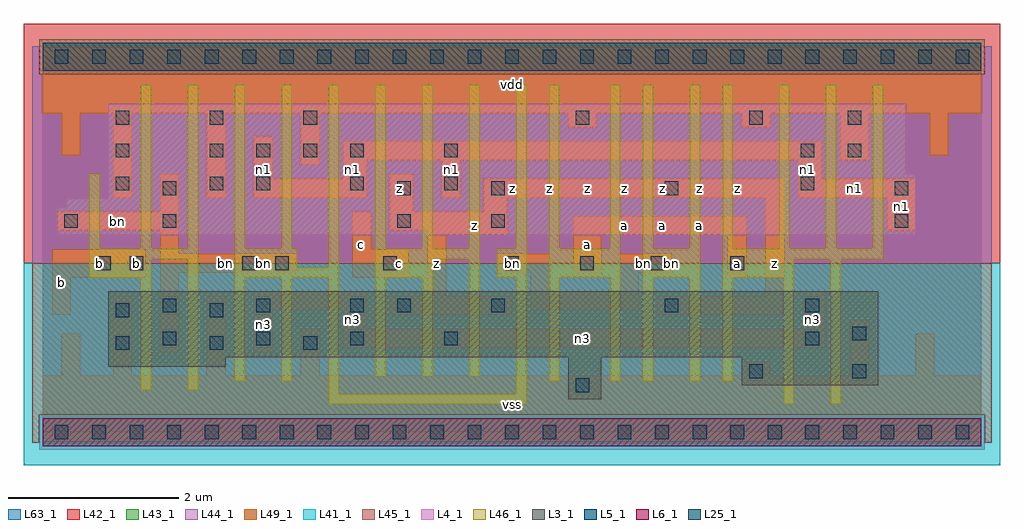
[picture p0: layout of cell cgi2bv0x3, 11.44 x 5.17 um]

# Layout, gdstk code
import gdstk
lib = gdstk.Library(unit=1e-6, precision=1e-09)
def R(c, l, rs):  # rectangles x0, y0, x1, y1
    for r in rs: c.add(gdstk.rectangle(r[:2], r[2:], *l))
def A(c, l, x, y, w, h, nx, ny, dx, dy):  # array of equal rectangles
    R(c, l, [(x+i*dx, y+j*dy, x+i*dx+w, y+j*dy+h) for i in range(nx) for j in range(ny)])
L3_1 = (3, 1)
L4_1 = (4, 1)
L5_1 = (5, 1)
L6_1 = (6, 1)
L25_1 = (25, 1)
L41_1 = (41, 1)
L42_1 = (42, 1)
L43_1 = (43, 1)
L44_1 = (44, 1)
L45_1 = (45, 1)
L46_1 = (46, 1)
L49_1 = (49, 1)
L63_1 = (63, 1)

cgi2bv0x3 = lib.new_cell('cgi2bv0x3')
R(cgi2bv0x3, L3_1, [(6.16,0.385,6.545,0.88), (8.195,0.55,9.79,0.88), (0.77,0.77,2.145,0.88), (0.77,0.88,9.79,1.65)])
R(cgi2bv0x3, L4_1, [(0.165,2.31,10.23,2.64), (0.275,2.64,10.23,2.75), (0.77,2.75,10.23,3.025), (0.77,3.025,10.12,3.85)])
R(cgi2bv0x3, L5_1, [(0,4.235,11,4.565)])
R(cgi2bv0x3, L6_1, [(0,-0.165,11,0.165)])
A(cgi2bv0x3, L25_1, 0.14, -0.08, 0.16, 0.16, 25, 2, 0.44, 4.4)
A(cgi2bv0x3, L25_1, 0.855, 0.965, 0.16, 0.16, 3, 2, 1.1, 2.64)
A(cgi2bv0x3, L25_1, 1.405, 1.02, 0.16, 0.16, 4, 1, 1.1, 0)
A(cgi2bv0x3, L25_1, 1.405, 1.405, 0.16, 0.16, 3, 1, 1.1, 0)
A(cgi2bv0x3, L25_1, 2.505, 2.835, 0.16, 0.16, 3, 1, 1.1, 0)
A(cgi2bv0x3, L25_1, 1.955, 3.22, 0.16, 0.16, 4, 1, 0.55, 0)
R(cgi2bv0x3, L25_1, [(6.245,0.47,6.405,0.63), (8.28,0.635,8.44,0.795), (9.49,0.635,9.65,0.795), (8.94,1.02,9.1,1.18), (9.49,1.075,9.65,1.235), (0.855,1.35,1.015,1.51), (1.955,1.35,2.115,1.51), (4.155,1.405,4.315,1.565), (5.255,1.405,5.415,1.565), (7.29,1.405,7.45,1.565), (8.94,1.405,9.1,1.565), (0.635,1.9,0.795,2.06), (1.02,1.9,1.18,2.06), (2.34,1.9,2.5,2.06), (2.725,1.9,2.885,2.06), (3.99,1.9,4.15,2.06), (5.42,1.9,5.58,2.06), (6.3,1.9,6.46,2.06), (7.125,1.9,7.285,2.06), (8.06,1.9,8.22,2.06), (0.25,2.395,0.41,2.555), (1.405,2.395,1.565,2.555), (4.155,2.395,4.315,2.555), (5.255,2.395,5.415,2.555), (9.985,2.395,10.145,2.555), (1.405,2.78,1.565,2.94), (4.155,2.78,4.315,2.94), (5.255,2.78,5.415,2.94), (7.29,2.78,7.45,2.94), (9.985,2.78,10.145,2.94), (0.855,2.835,1.015,2.995), (1.955,2.835,2.115,2.995), (8.885,2.835,9.045,2.995), (0.855,3.22,1.015,3.38), (4.705,3.22,4.865,3.38), (8.885,3.22,9.045,3.38), (9.435,3.22,9.595,3.38), (6.245,3.605,6.405,3.765), (8.28,3.605,8.44,3.765), (9.435,3.605,9.595,3.765)])
R(cgi2bv0x3, L41_1, [(-0.22,-0.385,11.22,1.98)])
R(cgi2bv0x3, L42_1, [(-0.22,1.98,11.22,4.785)])
R(cgi2bv0x3, L43_1, [(0,-0.165,11,0.165), (6.16,0.385,6.545,0.88), (8.195,0.55,9.79,0.88), (0.77,0.77,2.145,0.88), (0.77,0.88,9.79,1.65), (0.165,2.31,10.23,2.64), (0.275,2.64,10.23,2.75), (0.77,2.75,10.23,3.025), (0.77,3.025,10.12,3.85), (0,4.235,11,4.565)])
R(cgi2bv0x3, L44_1, [(-0.04,-0.205,11.04,0.205), (-0.125,1.98,11.125,4.195), (-0.125,4.195,-0.04,4.525), (11.04,4.195,11.125,4.525)])
R(cgi2bv0x3, L45_1, [(-0.125,-0.125,-0.04,0.205), (11.04,-0.125,11.125,0.205), (-0.125,0.205,11.125,1.98), (-0.04,4.195,11.04,4.605)])
A(cgi2bv0x3, L46_1, 1.15, 2.15, 0.12, 1.925, 4, 1, 0.55, 0)
A(cgi2bv0x3, L46_1, 3.9, 2.15, 0.12, 1.925, 4, 1, 0.55, 0)
A(cgi2bv0x3, L46_1, 8.63, 2.15, 0.12, 1.925, 3, 1, 0.55, 0)
R(cgi2bv0x3, L46_1, [(3.35,0.325,5.67,0.445), (8.685,0.325,8.805,1.81), (9.235,0.325,9.355,2.03), (3.35,0.445,3.47,1.81), (5.55,0.445,5.67,1.81), (1.15,0.49,1.27,1.81), (1.7,0.49,1.82,2.03), (2.25,0.6,2.37,1.81), (2.8,0.6,2.92,1.81), (5.935,0.6,6.055,1.81), (6.65,0.6,6.77,1.81), (7.035,0.6,7.155,1.81), (7.585,0.6,7.705,1.81), (7.97,0.6,8.09,1.81), (3.9,0.655,4.02,1.81), (4.45,0.655,4.57,1.81), (5,0.655,5.12,2.03), (0.545,1.81,1.27,2.03), (2.25,1.81,3.47,1.93), (3.9,1.81,4.57,2.03), (5.33,1.81,5.67,2.15), (5.935,1.81,6.77,2.15), (7.035,1.81,7.705,2.15), (7.97,1.81,8.805,2.03), (2.25,1.93,2.975,2.15), (3.35,1.93,3.47,4.075), (0.545,2.03,1.82,2.15), (3.9,2.03,5.12,2.15), (7.97,2.03,9.85,2.15), (0.545,2.15,0.665,3.03), (5.935,2.15,6.055,4.075), (6.65,2.15,6.77,4.075), (7.035,2.15,7.155,4.075), (7.585,2.15,7.705,4.075), (7.97,2.15,8.09,4.075)])
R(cgi2bv0x3, L49_1, [(0,-0.11,11,0.66), (0.22,0.66,0.44,1.155), (0.825,0.66,1.045,1.595), (1.925,0.66,2.145,1.595), (3.025,0.66,3.245,1.21), (8.195,0.66,8.525,0.825), (9.46,0.66,9.68,1.32), (10.23,0.66,10.45,1.155), (1.375,0.935,1.595,1.87), (2.475,0.935,2.695,1.43), (3.52,0.99,9.185,1.21), (3.52,1.21,3.795,1.43), (8.91,1.21,9.185,1.65), (0.11,1.375,0.33,1.815), (4.07,1.375,5.5,1.595), (7.205,1.375,8.69,1.595), (2.475,1.43,3.795,1.65), (5.72,1.43,6.985,1.65), (4.51,1.595,4.73,2.31), (8.47,1.595,8.69,2.75), (5.72,1.65,5.94,1.87), (6.765,1.65,6.985,1.87), (0.11,1.815,1.21,2.145), (3.63,1.815,4.29,2.145), (8.03,1.815,8.25,2.31), (1.375,1.87,2.97,2.09), (5.335,1.87,5.94,2.09), (6.215,1.87,6.545,2.31), (6.765,1.87,7.37,2.09), (1.375,2.09,1.595,2.365), (3.63,2.145,3.85,2.585), (4.51,2.31,5.445,2.365), (6.215,2.31,8.25,2.53), (0.165,2.365,1.595,2.585), (4.07,2.365,5.445,2.585), (9.9,2.365,10.23,2.75), (1.375,2.585,1.595,3.025), (4.07,2.585,4.345,3.025), (5.17,2.585,5.445,2.75), (0.825,2.75,1.045,3.74), (1.925,2.75,2.145,3.74), (2.475,2.75,3.795,2.97), (4.675,2.75,4.895,3.19), (5.17,2.75,8.69,2.97), (8.855,2.75,10.23,2.97), (2.475,2.97,2.695,3.465), (3.52,2.97,3.795,3.19), (8.855,2.97,9.13,3.19), (3.025,3.135,3.245,3.74), (3.52,3.19,9.13,3.41), (9.35,3.19,9.68,3.74), (0.22,3.245,0.44,3.74), (10.395,3.245,10.615,3.74), (6.16,3.575,6.49,3.74), (8.195,3.575,8.525,3.74), (0,3.74,11,4.51)])
R(cgi2bv0x3, L63_1, [(0,0,11,4.4)])
cgi2bv0x3.add(gdstk.Label('bn', (2.585,1.98), layer=46, texttype=1))
cgi2bv0x3.add(gdstk.Label('bn', (5.5,1.98), layer=49, texttype=1))
cgi2bv0x3.add(gdstk.Label('bn', (7.37,1.98), layer=46, texttype=1))
cgi2bv0x3.add(gdstk.Label('b', (1.1,1.98), layer=49, texttype=1))
cgi2bv0x3.add(gdstk.Label('b', (0.66,1.98), layer=49, texttype=1))
cgi2bv0x3.add(gdstk.Label('b', (0.22,1.76), layer=49, texttype=1))
cgi2bv0x3.add(gdstk.Label('bn', (0.88,2.475), layer=49, texttype=1))
cgi2bv0x3.add(gdstk.Label('n3', (2.585,1.265), layer=49, texttype=1))
cgi2bv0x3.add(gdstk.Label('bn', (2.145,1.98), layer=49, texttype=1))
cgi2bv0x3.add(gdstk.Label('n1', (2.585,3.08), layer=49, texttype=1))
cgi2bv0x3.add(gdstk.Label('n3', (3.63,1.32), layer=49, texttype=1))
cgi2bv0x3.add(gdstk.Label('z', (4.62,1.98), layer=49, texttype=1))
cgi2bv0x3.add(gdstk.Label('c', (4.18,1.98), layer=49, texttype=1))
cgi2bv0x3.add(gdstk.Label('z', (5.06,2.42), layer=49, texttype=1))
cgi2bv0x3.add(gdstk.Label('c', (3.74,2.2), layer=49, texttype=1))
cgi2bv0x3.add(gdstk.Label('z', (4.18,2.86), layer=49, texttype=1))
cgi2bv0x3.add(gdstk.Label('n1', (4.785,3.08), layer=49, texttype=1))
cgi2bv0x3.add(gdstk.Label('n1', (3.63,3.08), layer=49, texttype=1))
cgi2bv0x3.add(gdstk.Label('vss', (5.5,0.33), layer=49, texttype=1))
cgi2bv0x3.add(gdstk.Label('bn', (5.61,1.98), layer=49, texttype=1))
cgi2bv0x3.add(gdstk.Label('bn', (7.04,1.98), layer=49, texttype=1))
cgi2bv0x3.add(gdstk.Label('a', (6.38,2.2), layer=49, texttype=1))
cgi2bv0x3.add(gdstk.Label('a', (6.82,2.42), layer=49, texttype=1))
cgi2bv0x3.add(gdstk.Label('a', (7.26,2.42), layer=49, texttype=1))
cgi2bv0x3.add(gdstk.Label('z', (5.5,2.86), layer=49, texttype=1))
cgi2bv0x3.add(gdstk.Label('z', (6.82,2.86), layer=49, texttype=1))
cgi2bv0x3.add(gdstk.Label('z', (7.26,2.86), layer=49, texttype=1))
cgi2bv0x3.add(gdstk.Label('z', (6.38,2.86), layer=49, texttype=1))
cgi2bv0x3.add(gdstk.Label('z', (5.94,2.86), layer=49, texttype=1))
cgi2bv0x3.add(gdstk.Label('vdd', (5.5,4.07), layer=49, texttype=1))
cgi2bv0x3.add(gdstk.Label('n3', (6.325,1.1), layer=49, texttype=1))
cgi2bv0x3.add(gdstk.Label('n3', (9.02,1.32), layer=49, texttype=1))
cgi2bv0x3.add(gdstk.Label('a', (8.14,1.98), layer=49, texttype=1))
cgi2bv0x3.add(gdstk.Label('z', (8.58,1.98), layer=49, texttype=1))
cgi2bv0x3.add(gdstk.Label('a', (7.7,2.42), layer=49, texttype=1))
cgi2bv0x3.add(gdstk.Label('z', (7.7,2.86), layer=49, texttype=1))
cgi2bv0x3.add(gdstk.Label('z', (8.14,2.86), layer=49, texttype=1))
cgi2bv0x3.add(gdstk.Label('n1', (8.965,3.08), layer=49, texttype=1))
cgi2bv0x3.add(gdstk.Label('n1', (9.515,2.86), layer=49, texttype=1))
cgi2bv0x3.add(gdstk.Label('n1', (10.065,2.64), layer=49, texttype=1))

lib.write_gds('cgi2bv0x3.gds')
